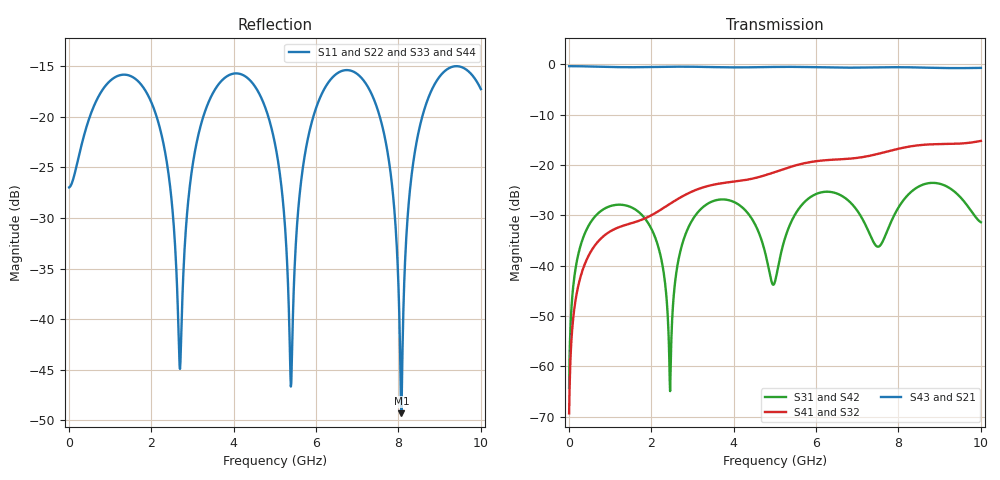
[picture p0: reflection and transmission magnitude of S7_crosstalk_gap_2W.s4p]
! kicad_em_sim: S-parameters of 4 ports, openEMS
# Hz S RI R 50
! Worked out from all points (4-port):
!   1000 points, 10 MHz to 10 GHz, reference 50 ohm
!   strongest paths, dB at 10 MHz, 2.51 GHz, 5.01 GHz, 7.51 GHz, 10 GHz:
!     S43: -0.4, -0.5, -0.5, -0.6, -0.7
!     S21: -0.4, -0.5, -0.5, -0.6, -0.7
!     S41: -69.3, -27.4, -21.4, -17.8, -15.2
!     S32: -69.3, -27.4, -21.4, -17.8, -15.2
!     S31: -64.2, -50.6, -43.0, -36.2, -31.4
!     S42: -64.2, -50.6, -43.0, -36.2, -31.4
!   lowest |S11| = -49.3 dB at 8.07 GHz (marker M1), VSWR 1.01, Z = 50.3 - j0.0883 ohm
!   |S11| at or under -10 dB: start of sweep to end of sweep
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1e7  -0.0447 0.00248  0.9557 -0.0119  -0.000216 0.000574  0.000199 -0.00028
     0.9557 -0.0119  -0.0447 0.00248  0.000199 -0.00028  -0.000216 0.000574
     -0.000216 0.000574  0.000199 -0.00028  -0.0447 0.00248  0.9557 -0.0119
     0.000199 -0.00028  -0.000216 0.000574  0.9557 -0.0119  -0.0447 0.00248
9.1e8  0.1081 0.0947  0.4065 -0.8479  0.0351 0.0134  -0.0204 -0.00284
       0.4065 -0.8479  0.1081 0.0947  -0.0204 -0.00284  0.0351 0.0134
       0.0351 0.0134  -0.0204 -0.00284  0.1081 0.0947  0.4065 -0.8479
       -0.0204 -0.00284  0.0351 0.0134  0.4065 -0.8479  0.1081 0.0947
2.46e9  0.0175 -0.0418  -0.9347 -0.1318  -0.000566 6.06e-05  -0.00346 0.0411
        -0.9347 -0.1318  0.0175 -0.0418  -0.00346 0.0411  -0.000566 6.05e-05
        -0.000566 6.05e-05  -0.00346 0.0411  0.0175 -0.0418  -0.9347 -0.1318
        -0.00346 0.0411  -0.000566 6.06e-05  -0.9347 -0.1318  0.0175 -0.0418
3.26e9  0.0692 0.0713  -0.6218 0.705  0.0327 0.0198  0.0482 0.0355
        -0.6218 0.705  0.0692 0.0713  0.0482 0.0355  0.0327 0.0198
        0.0327 0.0198  0.0482 0.0355  0.0692 0.0713  -0.6218 0.705
        0.0482 0.0355  0.0327 0.0198  -0.6218 0.705  0.0692 0.0713
5.14e9  0.0102 -0.048  0.9403 0.00536  -0.00398 0.0121  -0.00106 -0.0889
        0.9403 0.00536  0.0102 -0.048  -0.00106 -0.0889  -0.00398 0.0121
        -0.00398 0.0121  -0.00106 -0.0889  0.0102 -0.048  0.9403 0.00536
        -0.00106 -0.0889  -0.00398 0.0121  0.9403 0.00536  0.0102 -0.048
8.07e9  0.00331 -0.000877  -0.8414 0.4039  0.0166 0.0384  0.0649 0.1318
        -0.8414 0.4039  0.00331 -0.000877  0.0649 0.1318  0.0166 0.0384
        0.0166 0.0384  0.0649 0.1318  0.00331 -0.000877  -0.8414 0.4039
        0.0649 0.1318  0.0166 0.0384  -0.8414 0.4039  0.00331 -0.000877
1e10  0.0618 -0.1222  0.869 0.2995  -0.0259 -0.00778  0.0544 -0.1645
      0.869 0.2995  0.0618 -0.1222  0.0544 -0.1645  -0.0259 -0.00778
      -0.0259 -0.00778  0.0544 -0.1645  0.0618 -0.1222  0.869 0.2995
      0.0544 -0.1645  -0.0259 -0.00778  0.869 0.2995  0.0618 -0.1222
